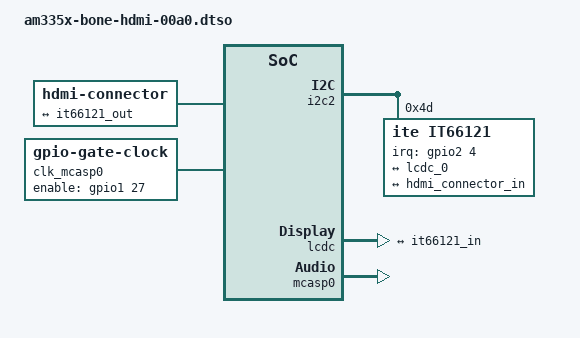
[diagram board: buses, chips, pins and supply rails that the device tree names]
// SPDX-License-Identifier: GPL-2.0-only
/*
 * 2017 Copyright (c) Seeed Technology Inc.  All right reserved.
 * Author: Baozhu Zuo <zuobaozhu@gmail.com>
 * Copyright (c) Bootlin 2026
 *
 * This device tree overlay is compatible with the BeagleBone Black, Green
 * and their subversions.
 */

/dts-v1/;
/plugin/;

#include <dt-bindings/pinctrl/am33xx.h>
#include <dt-bindings/interrupt-controller/irq.h>

&{/} {
	hdmi0: connector-hdmi {
		compatible = "hdmi-connector";
		label = "hdmi";
		type = "a";
		port {
			hdmi_connector_in: endpoint {
				remote-endpoint = <&it66121_out>;
			};
		};
	};

	clk_mcasp0_fixed: clk-mcasp0-fixed {
		#clock-cells = <0>;
		compatible = "fixed-clock";
		clock-frequency = <24576000>;
	};

	clk_mcasp0: clk-mcasp0 {
		#clock-cells = <0>;
		compatible = "gpio-gate-clock";
		clocks = <&clk_mcasp0_fixed>;
		enable-gpios = <&gpio1 27 0>;
	};

	sound {
		compatible = "simple-audio-card";
		simple-audio-card,name = "TI BeagleBone Green HDMI cape";
		simple-audio-card,format = "i2s";
		simple-audio-card,bitclock-master = <&sound_master>;
		simple-audio-card,frame-master = <&sound_master>;

		sound_master: simple-audio-card,cpu {
			sound-dai = <&mcasp0>;
			clocks = <&clk_mcasp0>;
		};

		simple-audio-card,codec {
			sound-dai = <&it66121>;
		};
	};
};

&am33xx_pinmux {
	bb_lcd_pins: pinmux-bb-lcd-pins {
		pinctrl-single,pins = <
			AM33XX_PADCONF(AM335X_PIN_LCD_DATA0, PIN_OUTPUT, MUX_MODE0)
			AM33XX_PADCONF(AM335X_PIN_LCD_DATA1, PIN_OUTPUT, MUX_MODE0)
			AM33XX_PADCONF(AM335X_PIN_LCD_DATA2, PIN_OUTPUT, MUX_MODE0)
			AM33XX_PADCONF(AM335X_PIN_LCD_DATA3, PIN_OUTPUT, MUX_MODE0)
			AM33XX_PADCONF(AM335X_PIN_LCD_DATA4, PIN_OUTPUT, MUX_MODE0)
			AM33XX_PADCONF(AM335X_PIN_LCD_DATA5, PIN_OUTPUT, MUX_MODE0)
			AM33XX_PADCONF(AM335X_PIN_LCD_DATA6, PIN_OUTPUT, MUX_MODE0)
			AM33XX_PADCONF(AM335X_PIN_LCD_DATA7, PIN_OUTPUT, MUX_MODE0)
			AM33XX_PADCONF(AM335X_PIN_LCD_DATA8, PIN_OUTPUT, MUX_MODE0)
			AM33XX_PADCONF(AM335X_PIN_LCD_DATA9, PIN_OUTPUT, MUX_MODE0)
			AM33XX_PADCONF(AM335X_PIN_LCD_DATA10, PIN_OUTPUT, MUX_MODE0)
			AM33XX_PADCONF(AM335X_PIN_LCD_DATA11, PIN_OUTPUT, MUX_MODE0)
			AM33XX_PADCONF(AM335X_PIN_LCD_DATA12, PIN_OUTPUT, MUX_MODE0)
			AM33XX_PADCONF(AM335X_PIN_LCD_DATA13, PIN_OUTPUT, MUX_MODE0)
			AM33XX_PADCONF(AM335X_PIN_LCD_DATA14, PIN_OUTPUT, MUX_MODE0)
			AM33XX_PADCONF(AM335X_PIN_LCD_DATA15, PIN_OUTPUT, MUX_MODE0)
			AM33XX_PADCONF(AM335X_PIN_LCD_VSYNC, PIN_OUTPUT, MUX_MODE0)
			AM33XX_PADCONF(AM335X_PIN_LCD_HSYNC, PIN_OUTPUT, MUX_MODE0)
			AM33XX_PADCONF(AM335X_PIN_LCD_PCLK, PIN_OUTPUT, MUX_MODE0)
			AM33XX_PADCONF(AM335X_PIN_LCD_AC_BIAS_EN, PIN_OUTPUT, MUX_MODE0)
			AM33XX_PADCONF(AM335X_PIN_GPMC_ADVN_ALE, PIN_OUTPUT_PULLDOWN, MUX_MODE7)
			AM33XX_PADCONF(AM335X_PIN_GPMC_OEN_REN, PIN_OUTPUT_PULLDOWN, MUX_MODE7)
			AM33XX_PADCONF(AM335X_PIN_GPMC_WEN, PIN_INPUT, MUX_MODE7)
		>;
	};
	mcasp0_pins: mcasp0-pins {
		pinctrl-single,pins = <
			AM33XX_PADCONF(AM335X_PIN_MCASP0_AHCLKX, PIN_INPUT_PULLUP, MUX_MODE0)
			AM33XX_PADCONF(AM335X_PIN_MCASP0_AHCLKR, PIN_OUTPUT_PULLDOWN, MUX_MODE2)
			AM33XX_PADCONF(AM335X_PIN_MCASP0_FSX, PIN_OUTPUT_PULLUP, MUX_MODE0)
			AM33XX_PADCONF(AM335X_PIN_MCASP0_ACLKX, PIN_OUTPUT_PULLDOWN, MUX_MODE0)
		>;
	};
};

&i2c2 {
	status = "okay";
	#address-cells = <1>;
	#size-cells = <0>;

	it66121: it66121 {
		compatible = "ite,it66121";
		reg = <0x4d>;
		pinctrl-names = "default";
		pinctrl-0 = <&bb_lcd_pins>;

		#sound-dai-cells = <0>;

		interrupt-parent = <&gpio2>;
		interrupts = <4 IRQ_TYPE_EDGE_RISING>;
		ports {
			#address-cells = <1>;
			#size-cells = <0>;

			port@0 {
				reg = <0>;
				it66121_in: endpoint {
					bus-width = <24>;
					remote-endpoint = <&lcdc_0>;
				};
			};

			port@1 {
				reg = <1>;
				it66121_out: endpoint {
					remote-endpoint = <&hdmi_connector_in>;
				};
			};
		};
	};
};

&lcdc {
	status = "okay";
	blue-and-red-wiring = "straight";
	port {
		lcdc_0: endpoint@0 {
			remote-endpoint = <&it66121_in>;
		};
	};
};


&mcasp0 {
	status = "okay";
	#sound-dai-cells = <0>;
	pinctrl-names = "default";
	pinctrl-0 = <&mcasp0_pins>;
	op-mode = <0>;
	tdm-slots = <2>;
	serial-dir = < 0 0 1 0 >;
	tx-num-evt = <32>;
	rx-num-evt = <32>;
};

